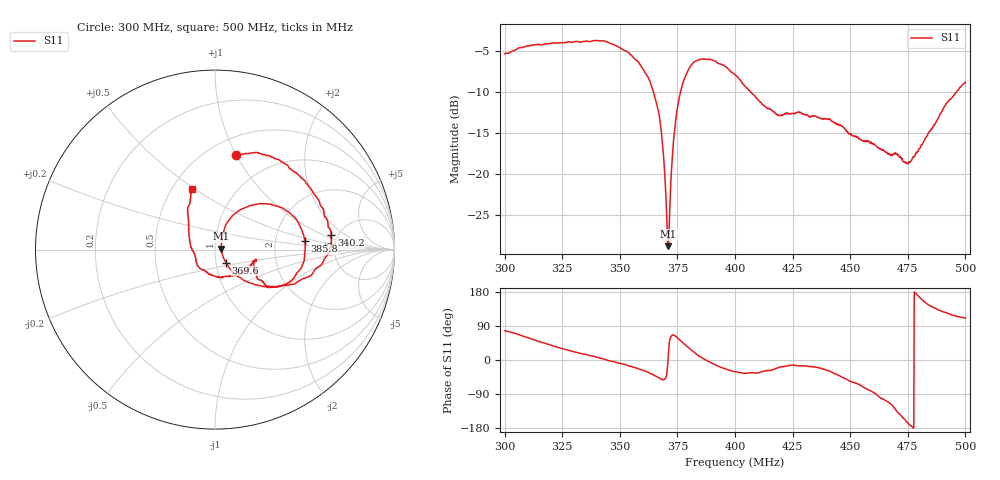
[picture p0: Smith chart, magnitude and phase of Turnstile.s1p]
!Keysight Technologies N9913A: A.08.18
!Date: Friday, 21 April 2023 12:03:47
!TimeZone: (GMT-06:00) Guadalajara, Mexico City, Monterrey!Model: N9913A
!Serial: MY53104603
!GPS Latitude:
!GPS Longitude:
!GPS TimeStamp: 0001-01-01 00:00:00Z
!GPS Seconds Since Last Read: 0
!CHECKSUM:0762961336
!Correction: S11(ON U*)
!S1P File: Measurement: S11:
# Hz S DB R 50
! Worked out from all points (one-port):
!   1001 points, 300 MHz to 500 MHz, reference 50 ohm
!   lowest |S11| = -28.8 dB at 371 MHz (marker M1), VSWR 1.08, Z = 53.7 + j0.477 ohm
!   |S11| at or under -10 dB: 364.6 MHz to 376.3 MHz (11.74 MHz wide, 3.17 % of centre); 406.9 MHz to 496.1 MHz (89.16 MHz wide, 19.7 % of centre)
!   S11 on the Smith chart (normalised r, x): 300 MHz: 0.67, +1.00; 340.2 MHz: 4.38, +1.26; 369.6 MHz: 1.12, -0.16; 385.8 MHz: 2.96, +0.37; 500 MHz: 0.62, +0.49
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3e8  -5.33 77.3
3.102e8  -4.40 58.5
3.25e8  -3.99 30.2
3.402e8  -3.71 7.2
3.5e8  -4.57 -9.0
3.582e8  -6.37 -23.7
3.638e8  -9.28 -36.8
3.674e8  -13.45 -47.7
3.686e8  -16.48 -52.1
3.696e8  -20.49 -49.8
3.704e8  -25.41 -36.6
3.71e8  -28.82 7.0
3.716e8  -24.86 51.1
3.734e8  -15.71 66.0
3.75e8  -11.95 58.6
3.77e8  -9.26 47.2
3.796e8  -7.37 34.1
3.858e8  -6.00 5.4
3.932e8  -6.53 -17.5
4e8  -7.90 -30.9
4.136e8  -11.87 -28.1
4.25e8  -12.60 -13.7
4.406e8  -13.26 -28.3
4.5e8  -15.15 -56.0
4.65e8  -17.24 -105.9
4.75e8  -18.62 -165.2
4.918e8  -11.39 124.5
5e8  -8.80 110.8
